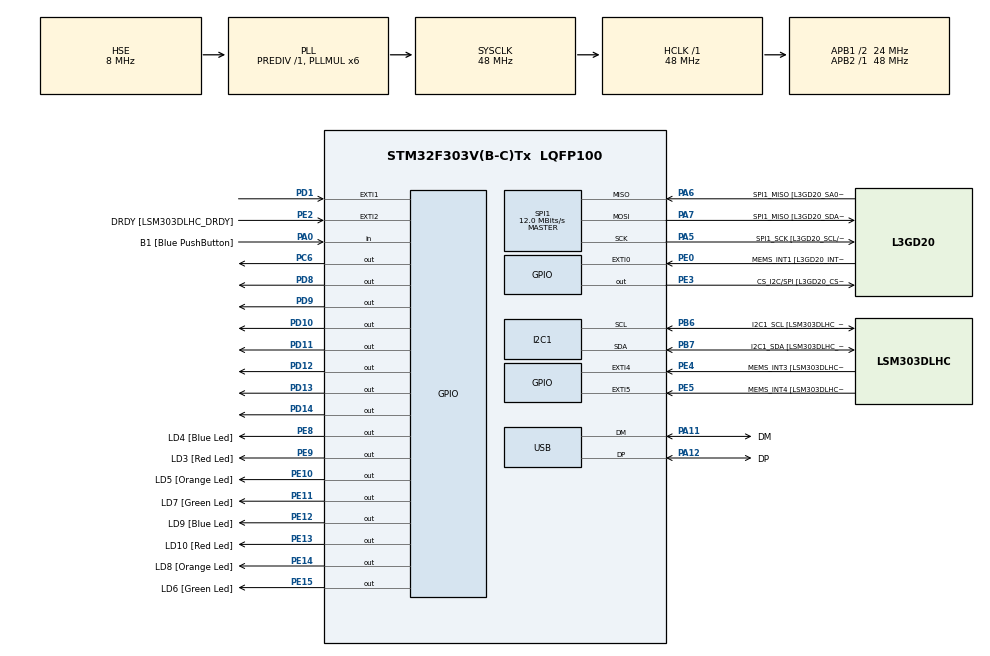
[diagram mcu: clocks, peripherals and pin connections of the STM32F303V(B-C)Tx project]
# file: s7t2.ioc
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I2C1.Timing-I2C=0x2000090E
Mcu.Family=STM32F3
Mcu.Name=STM32F303V(B-C)Tx
Mcu.Package=LQFP100
NVIC.EXTI1_IRQn=true\:2\:0\:true\:false\:true\:true
NVIC.PriorityGroup=NVIC_PRIORITYGROUP_4
NVIC.TIM2_IRQn=true\:2\:0\:true\:false\:true\:true
NVIC.TIM3_IRQn=true\:1\:0\:true\:false\:true\:true
PA0.GPIO_Label=B1 [Blue PushButton]
PA0.Signal=GPIO_Input
PA11.GPIO_Label=DM
PA11.Mode=Device
PA11.Signal=USB_DM
PA12.GPIO_Label=DP
PA12.Mode=Device
PA12.Signal=USB_DP
PA13.GPIO_Label=SWDIO
PA13.Mode=Serial_Wire
PA13.Signal=SYS_JTMS-SWDIO
PA14.GPIO_Label=SWCLK
PA14.Mode=Serial_Wire
PA14.Signal=SYS_JTCK-SWCLK
PA5.GPIO_Label=SPI1_SCK [L3GD20_SCL/SPC]
PA5.Mode=Full_Duplex_Master
PA5.Signal=SPI1_SCK
PA6.GPIO_Label=SPI1_MISO [L3GD20_SA0/SDO]
PA6.Mode=Full_Duplex_Master
PA6.Signal=SPI1_MISO
PA7.GPIO_Label=SPI1_MISO [L3GD20_SDA/SDI/SDO]
PA7.Mode=Full_Duplex_Master
PA7.Signal=SPI1_MOSI
PB3.GPIO_Label=SWO
PB3.Signal=SYS_JTDO-TRACESWO
PB6.GPIO_Label=I2C1_SCL [LSM303DLHC_SCL]
PB6.Mode=I2C
PB6.Signal=I2C1_SCL
PB7.GPIO_Label=I2C1_SDA [LSM303DLHC_SDA]
PB7.Mode=I2C
PB7.Signal=I2C1_SDA
PC14-OSC32_IN.GPIO_Label=OSC32_IN
PC14-OSC32_IN.Signal=RCC_OSC32_IN
PC15-OSC32_OUT.GPIO_Label=OSC32_OUT
PC15-OSC32_OUT.Signal=RCC_OSC32_OUT
PC6.Signal=GPIO_Output
PD1.Signal=GPXTI1
PD10.Signal=GPIO_Output
PD11.Signal=GPIO_Output
PD12.Signal=GPIO_Output
PD13.Signal=GPIO_Output
PD14.Signal=GPIO_Output
PD8.Signal=GPIO_Output
PD9.Signal=GPIO_Output
PE0.GPIO_Label=MEMS_INT1 [L3GD20_INT1]
PE0.GPIO_ModeDefaultEXTI=GPIO_MODE_EVT_RISING
PE0.Signal=GPXTI0
PE10.GPIO_Label=LD5 [Orange Led]
PE10.Signal=GPIO_Output
PE11.GPIO_Label=LD7 [Green Led]
PE11.Signal=GPIO_Output
PE12.GPIO_Label=LD9 [Blue Led]
PE12.Signal=GPIO_Output
PE13.GPIO_Label=LD10 [Red Led]
PE13.Signal=GPIO_Output
PE14.GPIO_Label=LD8 [Orange Led]
PE14.Signal=GPIO_Output
PE15.GPIO_Label=LD6 [Green Led]
PE15.Signal=GPIO_Output
PE2.GPIO_Label=DRDY [LSM303DLHC_DRDY]
PE2.GPIO_ModeDefaultEXTI=GPIO_MODE_EVT_RISING
PE2.Signal=GPXTI2
PE3.GPIO_Label=CS_I2C/SPI [L3GD20_CS_I2C/SPI]
PE3.Signal=GPIO_Output
PE4.GPIO_Label=MEMS_INT3 [LSM303DLHC_INT1]
PE4.GPIO_ModeDefaultEXTI=GPIO_MODE_EVT_RISING
PE4.Signal=GPXTI4
PE5.GPIO_Label=MEMS_INT4 [LSM303DLHC_INT2]
PE5.GPIO_ModeDefaultEXTI=GPIO_MODE_EVT_RISING
PE5.Signal=GPXTI5
PE8.GPIO_Label=LD4 [Blue Led]
PE8.Signal=GPIO_Output
PE9.GPIO_Label=LD3 [Red Led]
PE9.Signal=GPIO_Output
PF0-OSC_IN.GPIO_Label=OSC_IN
PF0-OSC_IN.Mode=HSE-External-Clock-Source
PF0-OSC_IN.Signal=RCC_OSC_IN
PF1-OSC_OUT.GPIO_Label=OSC_OUT
PF1-OSC_OUT.Signal=RCC_OSC_OUT
ProjectManager.HeapSize=0x200
ProjectManager.StackSize=0x400
ProjectManager.TargetToolchain=MDK-ARM V5
RCC.AHBFreq_Value=48000000
RCC.APB1CLKDivider=RCC_HCLK_DIV2
RCC.APB1Freq_Value=24000000
RCC.APB1TimFreq_Value=48000000
RCC.APB2Freq_Value=48000000
RCC.APB2TimFreq_Value=48000000
RCC.CortexFreq_Value=48000000
RCC.HCLKFreq_Value=48000000
RCC.HSE_VALUE=8000000
RCC.HSI_VALUE=8000000
RCC.LSE_VALUE=32768
RCC.PLLMUL=RCC_PLL_MUL6
RCC.SYSCLKFreq_VALUE=48000000
RCC.SYSCLKSourceVirtual=RCC_SYSCLKSOURCE_PLLCLK
RCC.USBFreq_Value=48000000
RTC.AsynchPrediv=39
RTC.SynchPrediv=999
SPI1.BaudRatePrescaler=SPI_BAUDRATEPRESCALER_4
SPI1.BaudRatePrescaler-Full_Duplex_Master=SPI_BAUDRATEPRESCALER_2
SPI1.CalculateBaudRate=12.0 MBits/s
SPI1.CalculateBaudRate-Full_Duplex_Master=24.0 MBits/s
SPI1.Direction=SPI_DIRECTION_2LINES
SPI1.Mode=SPI_MODE_MASTER
SPI1.Mode-Full_Duplex_Master=SPI_MODE_MASTER
SPI1.VirtualType=VM_MASTER
TIM2.Period=100000
TIM2.Prescaler=2399
TIM3.Period=10000
TIM3.Prescaler=4799
VP_RTC_VS_RTC_Activate.Mode=RTC_Enabled
VP_TIM2_VS_ClockSourceINT.Mode=Internal
VP_TIM3_VS_ClockSourceINT.Mode=Internal
board=STM32F3DISCOVERY

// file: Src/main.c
/**
  ******************************************************************************
  * @file           : main.c
  * @brief          : Main program body
  ******************************************************************************
  ** This notice applies to any and all portions of this file
  * that are not between comment pairs USER CODE BEGIN and
  * USER CODE END. Other portions of this file, whether
  * inserted by the user or by software development tools
  * are owned by their respective copyright owners.
  *
  * COPYRIGHT(c) 2020 STMicroelectronics
  *
  * Redistribution and use in source and binary forms, with or without modification,
  * are permitted provided that the following conditions are met:
  *   1. Redistributions of source code must retain the above copyright notice,
  *      this list of conditions and the following disclaimer.
  *   2. Redistributions in binary form must reproduce the above copyright notice,
  *      this list of conditions and the following disclaimer in the documentation
  *      and/or other materials provided with the distribution.
  *   3. Neither the name of STMicroelectronics nor the names of its contributors
  *      may be used to endorse or promote products derived from this software
  *      without specific prior written permission.
  *
  * THIS SOFTWARE IS PROVIDED BY THE COPYRIGHT HOLDERS AND CONTRIBUTORS "AS IS"
  * AND ANY EXPRESS OR IMPLIED WARRANTIES, INCLUDING, BUT NOT LIMITED TO, THE
  * IMPLIED WARRANTIES OF MERCHANTABILITY AND FITNESS FOR A PARTICULAR PURPOSE ARE
  * DISCLAIMED. IN NO EVENT SHALL THE COPYRIGHT HOLDER OR CONTRIBUTORS BE LIABLE
  * FOR ANY DIRECT, INDIRECT, INCIDENTAL, SPECIAL, EXEMPLARY, OR CONSEQUENTIAL
  * DAMAGES (INCLUDING, BUT NOT LIMITED TO, PROCUREMENT OF SUBSTITUTE GOODS OR
  * SERVICES; LOSS OF USE, DATA, OR PROFITS; OR BUSINESS INTERRUPTION) HOWEVER
  * CAUSED AND ON ANY THEORY OF LIABILITY, WHETHER IN CONTRACT, STRICT LIABILITY,
  * OR TORT (INCLUDING NEGLIGENCE OR OTHERWISE) ARISING IN ANY WAY OUT OF THE USE
  * OF THIS SOFTWARE, EVEN IF ADVISED OF THE POSSIBILITY OF SUCH DAMAGE.
  *
  ******************************************************************************
  */
#include "main.h"
#include "stm32f3xx_hal.h"

/* USER CODE BEGIN Includes */
#include "LiquidCrystal.h"
/* USER CODE END Includes */

I2C_HandleTypeDef hi2c1;

RTC_HandleTypeDef hrtc;

SPI_HandleTypeDef hspi1;

TIM_HandleTypeDef htim2;
TIM_HandleTypeDef htim3;

PCD_HandleTypeDef hpcd_USB_FS;

/* USER CODE BEGIN PV */
/* Private variables ---------------------------------------------------------*/

/* USER CODE END PV */

void SystemClock_Config(void);
static void MX_GPIO_Init(void);
static void MX_I2C1_Init(void);
static void MX_SPI1_Init(void);
static void MX_USB_PCD_Init(void);
static void MX_TIM2_Init(void);
static void MX_RTC_Init(void);
static void MX_TIM3_Init(void);

/* USER CODE BEGIN PFP */
/* Private function prototypes -----------------------------------------------*/

/* USER CODE END PFP */

/* USER CODE BEGIN 0 */
RTC_HandleTypeDef hrtc;
RTC_TimeTypeDef mytime;
RTC_DateTypeDef mydate;
char timestr[20];
char timem[20];
char datestr[20];
int counter=0;
/* USER CODE END 0 */

int main(void)
{

  /* MCU Configuration----------------------------------------------------------*/

  /* Reset of all peripherals, Initializes the Flash interface and the Systick. */
  HAL_Init();

  /* Configure the system clock */
  SystemClock_Config();

  /* Initialize all configured peripherals */
  MX_GPIO_Init();
  MX_I2C1_Init();
  MX_SPI1_Init();
  MX_USB_PCD_Init();
  MX_TIM2_Init();
  MX_RTC_Init();
  MX_TIM3_Init();
  /* USER CODE BEGIN 2 */
	HAL_GPIO_WritePin(GPIOC,GPIO_PIN_6,1);
LiquidCrystal(GPIOD,GPIO_PIN_8,GPIO_PIN_9,GPIO_PIN_10,GPIO_PIN_11,GPIO_PIN_12,GPIO_PIN_13,GPIO_PIN_14);
begin(20,4);
mytime.Hours=6;
mytime.Minutes=27;
mytime.Seconds=20;
HAL_RTC_SetTime(&hrtc,&mytime,RTC_FORMAT_BIN);
mydate.Year=19;
mydate.Month=6;
mydate.Date=5;
HAL_RTC_SetDate(&hrtc,&mydate,RTC_FORMAT_BIN);
HAL_TIM_Base_Start_IT(&htim3);
  /* USER CODE END 2 */

  /* Infinite loop */
  while (1)
  {

  }

}

void SystemClock_Config(void)
{

  RCC_OscInitTypeDef RCC_OscInitStruct;
  RCC_ClkInitTypeDef RCC_ClkInitStruct;
  RCC_PeriphCLKInitTypeDef PeriphClkInit;

    /**Initializes the CPU, AHB and APB busses clocks
    */
  RCC_OscInitStruct.OscillatorType = RCC_OSCILLATORTYPE_HSI|RCC_OSCILLATORTYPE_LSI
                              |RCC_OSCILLATORTYPE_HSE;
  RCC_OscInitStruct.HSEState = RCC_HSE_BYPASS;
  RCC_OscInitStruct.HSEPredivValue = RCC_HSE_PREDIV_DIV1;
  RCC_OscInitStruct.HSIState = RCC_HSI_ON;
  RCC_OscInitStruct.HSICalibrationValue = 16;
  RCC_OscInitStruct.LSIState = RCC_LSI_ON;
  RCC_OscInitStruct.PLL.PLLState = RCC_PLL_ON;
  RCC_OscInitStruct.PLL.PLLSource = RCC_PLLSOURCE_HSE;
  RCC_OscInitStruct.PLL.PLLMUL = RCC_PLL_MUL6;
  if (HAL_RCC_OscConfig(&RCC_OscInitStruct) != HAL_OK)
  {
    _Error_Handler(__FILE__, __LINE__);
  }

    /**Initializes the CPU, AHB and APB busses clocks
    */
  RCC_ClkInitStruct.ClockType = RCC_CLOCKTYPE_HCLK|RCC_CLOCKTYPE_SYSCLK
                              |RCC_CLOCKTYPE_PCLK1|RCC_CLOCKTYPE_PCLK2;
  RCC_ClkInitStruct.SYSCLKSource = RCC_SYSCLKSOURCE_PLLCLK;
  RCC_ClkInitStruct.AHBCLKDivider = RCC_SYSCLK_DIV1;
  RCC_ClkInitStruct.APB1CLKDivider = RCC_HCLK_DIV2;
  RCC_ClkInitStruct.APB2CLKDivider = RCC_HCLK_DIV1;

  if (HAL_RCC_ClockConfig(&RCC_ClkInitStruct, FLASH_LATENCY_1) != HAL_OK)
  {
    _Error_Handler(__FILE__, __LINE__);
  }

  PeriphClkInit.PeriphClockSelection = RCC_PERIPHCLK_USB|RCC_PERIPHCLK_I2C1
                              |RCC_PERIPHCLK_RTC;
  PeriphClkInit.I2c1ClockSelection = RCC_I2C1CLKSOURCE_HSI;
  PeriphClkInit.RTCClockSelection = RCC_RTCCLKSOURCE_LSI;
  PeriphClkInit.USBClockSelection = RCC_USBCLKSOURCE_PLL;
  if (HAL_RCCEx_PeriphCLKConfig(&PeriphClkInit) != HAL_OK)
  {
    _Error_Handler(__FILE__, __LINE__);
  }

    /**Configure the Systick interrupt time
    */
  HAL_SYSTICK_Config(HAL_RCC_GetHCLKFreq()/1000);

    /**Configure the Systick
    */
  HAL_SYSTICK_CLKSourceConfig(SYSTICK_CLKSOURCE_HCLK);

  /* SysTick_IRQn interrupt configuration */
  HAL_NVIC_SetPriority(SysTick_IRQn, 0, 0);
}

/* I2C1 init function */
static void MX_I2C1_Init(void)
{

  hi2c1.Instance = I2C1;
  hi2c1.Init.Timing = 0x2000090E;
  hi2c1.Init.OwnAddress1 = 0;
  hi2c1.Init.AddressingMode = I2C_ADDRESSINGMODE_7BIT;
  hi2c1.Init.DualAddressMode = I2C_DUALADDRESS_DISABLE;
  hi2c1.Init.OwnAddress2 = 0;
  hi2c1.Init.OwnAddress2Masks = I2C_OA2_NOMASK;
  hi2c1.Init.GeneralCallMode = I2C_GENERALCALL_DISABLE;
  hi2c1.Init.NoStretchMode = I2C_NOSTRETCH_DISABLE;
  if (HAL_I2C_Init(&hi2c1) != HAL_OK)
  {
    _Error_Handler(__FILE__, __LINE__);
  }

    /**Configure Analogue filter
    */
  if (HAL_I2CEx_ConfigAnalogFilter(&hi2c1, I2C_ANALOGFILTER_ENABLE) != HAL_OK)
  {
    _Error_Handler(__FILE__, __LINE__);
  }

    /**Configure Digital filter
    */
  if (HAL_I2CEx_ConfigDigitalFilter(&hi2c1, 0) != HAL_OK)
  {
    _Error_Handler(__FILE__, __LINE__);
  }

}

/* RTC init function */
static void MX_RTC_Init(void)
{

    /**Initialize RTC Only
    */
  hrtc.Instance = RTC;
  hrtc.Init.HourFormat = RTC_HOURFORMAT_24;
  hrtc.Init.AsynchPrediv = 39;
  hrtc.Init.SynchPrediv = 999;
  hrtc.Init.OutPut = RTC_OUTPUT_DISABLE;
  hrtc.Init.OutPutPolarity = RTC_OUTPUT_POLARITY_HIGH;
  hrtc.Init.OutPutType = RTC_OUTPUT_TYPE_OPENDRAIN;
  if (HAL_RTC_Init(&hrtc) != HAL_OK)
  {
    _Error_Handler(__FILE__, __LINE__);
  }

}

/* SPI1 init function */
static void MX_SPI1_Init(void)
{

  /* SPI1 parameter configuration*/
  hspi1.Instance = SPI1;
  hspi1.Init.Mode = SPI_MODE_MASTER;
  hspi1.Init.Direction = SPI_DIRECTION_2LINES;
  hspi1.Init.DataSize = SPI_DATASIZE_4BIT;
  hspi1.Init.CLKPolarity = SPI_POLARITY_LOW;
  hspi1.Init.CLKPhase = SPI_PHASE_1EDGE;
  hspi1.Init.NSS = SPI_NSS_SOFT;
  hspi1.Init.BaudRatePrescaler = SPI_BAUDRATEPRESCALER_4;
  hspi1.Init.FirstBit = SPI_FIRSTBIT_MSB;
  hspi1.Init.TIMode = SPI_TIMODE_DISABLE;
  hspi1.Init.CRCCalculation = SPI_CRCCALCULATION_DISABLE;
  hspi1.Init.CRCPolynomial = 7;
  hspi1.Init.CRCLength = SPI_CRC_LENGTH_DATASIZE;
  hspi1.Init.NSSPMode = SPI_NSS_PULSE_ENABLE;
  if (HAL_SPI_Init(&hspi1) != HAL_OK)
  {
    _Error_Handler(__FILE__, __LINE__);
  }

}

/* TIM2 init function */
static void MX_TIM2_Init(void)
{

  TIM_ClockConfigTypeDef sClockSourceConfig;
  TIM_MasterConfigTypeDef sMasterConfig;

  htim2.Instance = TIM2;
  htim2.Init.Prescaler = 2399;
  htim2.Init.CounterMode = TIM_COUNTERMODE_UP;
  htim2.Init.Period = 100000;
  htim2.Init.ClockDivision = TIM_CLOCKDIVISION_DIV1;
  htim2.Init.AutoReloadPreload = TIM_AUTORELOAD_PRELOAD_DISABLE;
  if (HAL_TIM_Base_Init(&htim2) != HAL_OK)
  {
    _Error_Handler(__FILE__, __LINE__);
  }

  sClockSourceConfig.ClockSource = TIM_CLOCKSOURCE_INTERNAL;
  if (HAL_TIM_ConfigClockSource(&htim2, &sClockSourceConfig) != HAL_OK)
  {
    _Error_Handler(__FILE__, __LINE__);
  }

  sMasterConfig.MasterOutputTrigger = TIM_TRGO_RESET;
  sMasterConfig.MasterSlaveMode = TIM_MASTERSLAVEMODE_DISABLE;
  if (HAL_TIMEx_MasterConfigSynchronization(&htim2, &sMasterConfig) != HAL_OK)
  {
    _Error_Handler(__FILE__, __LINE__);
  }

}

/* TIM3 init function */
static void MX_TIM3_Init(void)
{

  TIM_ClockConfigTypeDef sClockSourceConfig;
  TIM_MasterConfigTypeDef sMasterConfig;

  htim3.Instance = TIM3;
  htim3.Init.Prescaler = 4799;
  htim3.Init.CounterMode = TIM_COUNTERMODE_UP;
  htim3.Init.Period = 10000;
  htim3.Init.ClockDivision = TIM_CLOCKDIVISION_DIV1;
  htim3.Init.AutoReloadPreload = TIM_AUTORELOAD_PRELOAD_DISABLE;
  if (HAL_TIM_Base_Init(&htim3) != HAL_OK)
  {
    _Error_Handler(__FILE__, __LINE__);
  }

  sClockSourceConfig.ClockSource = TIM_CLOCKSOURCE_INTERNAL;
  if (HAL_TIM_ConfigClockSource(&htim3, &sClockSourceConfig) != HAL_OK)
  {
    _Error_Handler(__FILE__, __LINE__);
  }

  sMasterConfig.MasterOutputTrigger = TIM_TRGO_RESET;
  sMasterConfig.MasterSlaveMode = TIM_MASTERSLAVEMODE_DISABLE;
  if (HAL_TIMEx_MasterConfigSynchronization(&htim3, &sMasterConfig) != HAL_OK)
  {
    _Error_Handler(__FILE__, __LINE__);
  }

}

/* USB init function */
static void MX_USB_PCD_Init(void)
{

  hpcd_USB_FS.Instance = USB;
  hpcd_USB_FS.Init.dev_endpoints = 8;
  hpcd_USB_FS.Init.speed = PCD_SPEED_FULL;
  hpcd_USB_FS.Init.ep0_mps = DEP0CTL_MPS_64;
  hpcd_USB_FS.Init.phy_itface = PCD_PHY_EMBEDDED;
  hpcd_USB_FS.Init.low_power_enable = DISABLE;
  hpcd_USB_FS.Init.battery_charging_enable = DISABLE;
  if (HAL_PCD_Init(&hpcd_USB_FS) != HAL_OK)
  {
    _Error_Handler(__FILE__, __LINE__);
  }

}

/** Configure pins as
        * Analog
        * Input
        * Output
        * EVENT_OUT
        * EXTI
        * Free pins are configured automatically as Analog (this feature is enabled through
        * the Code Generation settings)
*/
static void MX_GPIO_Init(void)
{

  GPIO_InitTypeDef GPIO_InitStruct;

  /* GPIO Ports Clock Enable */
  __HAL_RCC_GPIOE_CLK_ENABLE();
  __HAL_RCC_GPIOC_CLK_ENABLE();
  __HAL_RCC_GPIOF_CLK_ENABLE();
  __HAL_RCC_GPIOA_CLK_ENABLE();
  __HAL_RCC_GPIOB_CLK_ENABLE();
  __HAL_RCC_GPIOD_CLK_ENABLE();

  /*Configure GPIO pin Output Level */
  HAL_GPIO_WritePin(GPIOE, CS_I2C_SPI_Pin|LD4_Pin|LD3_Pin|LD5_Pin
                          |LD7_Pin|LD9_Pin|LD10_Pin|LD8_Pin
                          |LD6_Pin, GPIO_PIN_RESET);

  /*Configure GPIO pin Output Level */
  HAL_GPIO_WritePin(GPIOD, GPIO_PIN_8|GPIO_PIN_9|GPIO_PIN_10|GPIO_PIN_11
                          |GPIO_PIN_12|GPIO_PIN_13|GPIO_PIN_14, GPIO_PIN_RESET);

  /*Configure GPIO pin Output Level */
  HAL_GPIO_WritePin(GPIOC, GPIO_PIN_6, GPIO_PIN_RESET);

  /*Configure GPIO pins : DRDY_Pin MEMS_INT3_Pin MEMS_INT4_Pin MEMS_INT1_Pin */
  GPIO_InitStruct.Pin = DRDY_Pin|MEMS_INT3_Pin|MEMS_INT4_Pin|MEMS_INT1_Pin;
  GPIO_InitStruct.Mode = GPIO_MODE_EVT_RISING;
  GPIO_InitStruct.Pull = GPIO_NOPULL;
  HAL_GPIO_Init(GPIOE, &GPIO_InitStruct);

  /*Configure GPIO pins : CS_I2C_SPI_Pin LD4_Pin LD3_Pin LD5_Pin
                           LD7_Pin LD9_Pin LD10_Pin LD8_Pin
                           LD6_Pin */
  GPIO_InitStruct.Pin = CS_I2C_SPI_Pin|LD4_Pin|LD3_Pin|LD5_Pin
                          |LD7_Pin|LD9_Pin|LD10_Pin|LD8_Pin
                          |LD6_Pin;
  GPIO_InitStruct.Mode = GPIO_MODE_OUTPUT_PP;
  GPIO_InitStruct.Pull = GPIO_NOPULL;
  GPIO_InitStruct.Speed = GPIO_SPEED_FREQ_LOW;
  HAL_GPIO_Init(GPIOE, &GPIO_InitStruct);

  /*Configure GPIO pins : PE6 PE7 PE1 */
  GPIO_InitStruct.Pin = GPIO_PIN_6|GPIO_PIN_7|GPIO_PIN_1;
  GPIO_InitStruct.Mode = GPIO_MODE_ANALOG;
  GPIO_InitStruct.Pull = GPIO_NOPULL;
  HAL_GPIO_Init(GPIOE, &GPIO_InitStruct);

  /*Configure GPIO pins : PC13 PC0 PC1 PC2
                           PC3 PC4 PC5 PC7
                           PC8 PC9 PC10 PC11
                           PC12 */
  GPIO_InitStruct.Pin = GPIO_PIN_13|GPIO_PIN_0|GPIO_PIN_1|GPIO_PIN_2
                          |GPIO_PIN_3|GPIO_PIN_4|GPIO_PIN_5|GPIO_PIN_7
                          |GPIO_PIN_8|GPIO_PIN_9|GPIO_PIN_10|GPIO_PIN_11
                          |GPIO_PIN_12;
  GPIO_InitStruct.Mode = GPIO_MODE_ANALOG;
  GPIO_InitStruct.Pull = GPIO_NOPULL;
  HAL_GPIO_Init(GPIOC, &GPIO_InitStruct);

  /*Configure GPIO pins : PF9 PF10 PF2 PF4
                           PF6 */
  GPIO_InitStruct.Pin = GPIO_PIN_9|GPIO_PIN_10|GPIO_PIN_2|GPIO_PIN_4
                          |GPIO_PIN_6;
  GPIO_InitStruct.Mode = GPIO_MODE_ANALOG;
  GPIO_InitStruct.Pull = GPIO_NOPULL;
  HAL_GPIO_Init(GPIOF, &GPIO_InitStruct);

  /*Configure GPIO pin : B1_Pin */
  GPIO_InitStruct.Pin = B1_Pin;
  GPIO_InitStruct.Mode = GPIO_MODE_INPUT;
  GPIO_InitStruct.Pull = GPIO_NOPULL;
  HAL_GPIO_Init(B1_GPIO_Port, &GPIO_InitStruct);

  /*Configure GPIO pins : PA1 PA2 PA3 PA4
                           PA8 PA9 PA10 PA15 */
  GPIO_InitStruct.Pin = GPIO_PIN_1|GPIO_PIN_2|GPIO_PIN_3|GPIO_PIN_4
                          |GPIO_PIN_8|GPIO_PIN_9|GPIO_PIN_10|GPIO_PIN_15;
  GPIO_InitStruct.Mode = GPIO_MODE_ANALOG;
  GPIO_InitStruct.Pull = GPIO_NOPULL;
  HAL_GPIO_Init(GPIOA, &GPIO_InitStruct);

  /*Configure GPIO pins : PB0 PB1 PB2 PB10
                           PB11 PB12 PB13 PB14
                           PB15 PB4 PB5 PB8
                           PB9 */
  GPIO_InitStruct.Pin = GPIO_PIN_0|GPIO_PIN_1|GPIO_PIN_2|GPIO_PIN_10
                          |GPIO_PIN_11|GPIO_PIN_12|GPIO_PIN_13|GPIO_PIN_14
                          |GPIO_PIN_15|GPIO_PIN_4|GPIO_PIN_5|GPIO_PIN_8
                          |GPIO_PIN_9;
  GPIO_InitStruct.Mode = GPIO_MODE_ANALOG;
  GPIO_InitStruct.Pull = GPIO_NOPULL;
  HAL_GPIO_Init(GPIOB, &GPIO_InitStruct);

  /*Configure GPIO pins : PD8 PD9 PD10 PD11
                           PD12 PD13 PD14 */
  GPIO_InitStruct.Pin = GPIO_PIN_8|GPIO_PIN_9|GPIO_PIN_10|GPIO_PIN_11
                          |GPIO_PIN_12|GPIO_PIN_13|GPIO_PIN_14;
  GPIO_InitStruct.Mode = GPIO_MODE_OUTPUT_PP;
  GPIO_InitStruct.Pull = GPIO_NOPULL;
  GPIO_InitStruct.Speed = GPIO_SPEED_FREQ_LOW;
  HAL_GPIO_Init(GPIOD, &GPIO_InitStruct);

  /*Configure GPIO pins : PD15 PD0 PD2 PD3
                           PD4 PD5 PD6 PD7 */
  GPIO_InitStruct.Pin = GPIO_PIN_15|GPIO_PIN_0|GPIO_PIN_2|GPIO_PIN_3
                          |GPIO_PIN_4|GPIO_PIN_5|GPIO_PIN_6|GPIO_PIN_7;
  GPIO_InitStruct.Mode = GPIO_MODE_ANALOG;
  GPIO_InitStruct.Pull = GPIO_NOPULL;
  HAL_GPIO_Init(GPIOD, &GPIO_InitStruct);

  /*Configure GPIO pin : PC6 */
  GPIO_InitStruct.Pin = GPIO_PIN_6;
  GPIO_InitStruct.Mode = GPIO_MODE_OUTPUT_PP;
  GPIO_InitStruct.Pull = GPIO_NOPULL;
  GPIO_InitStruct.Speed = GPIO_SPEED_FREQ_LOW;
  HAL_GPIO_Init(GPIOC, &GPIO_InitStruct);

  /*Configure GPIO pin : PD1 */
  GPIO_InitStruct.Pin = GPIO_PIN_1;
  GPIO_InitStruct.Mode = GPIO_MODE_IT_RISING;
  GPIO_InitStruct.Pull = GPIO_NOPULL;
  HAL_GPIO_Init(GPIOD, &GPIO_InitStruct);

  /* EXTI interrupt init*/
  HAL_NVIC_SetPriority(EXTI1_IRQn, 2, 0);
  HAL_NVIC_EnableIRQ(EXTI1_IRQn);

}

void _Error_Handler(char *file, int line)
{
  while(1)
  {
  }
}

/************************ (C) COPYRIGHT STMicroelectronics *****END OF FILE****/
